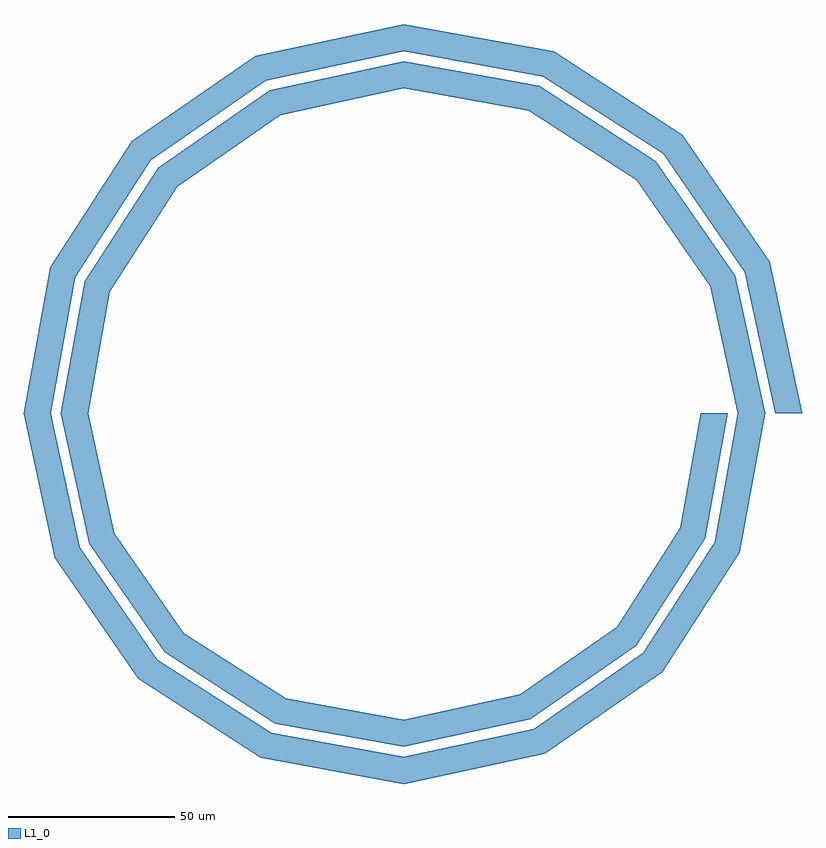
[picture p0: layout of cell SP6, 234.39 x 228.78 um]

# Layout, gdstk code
import gdstk
lib = gdstk.Library(unit=1e-6, precision=1e-09)
def P(c, l, *ps):  # polygons
    for p in ps: c.add(gdstk.Polygon(p, *l))
L1_0 = (1, 0)

sp6 = lib.new_cell('SP6')
P(sp6, L1_0, [(429.03,314.39),(419.87,356.92),(427.41,360.04),(437.19,314.39)],
  [(419.87,356.92),(395.28,392.48),(401.05,398.25),(427.41,360.04)],
  [(395.28,392.48),(359.19,415.77),(362.31,423.31),(401.05,398.25)],
  [(359.19,415.77),(317.19,423.43),(317.19,431.58),(362.31,423.31)],
  [(275.73,414.48),(272.61,422.01),(317.19,431.58),(317.19,423.43)],
  [(241.08,390.5),(235.31,396.27),(272.61,422.01),(275.73,414.48)],
  [(218.39,355.31),(210.86,358.43),(235.31,396.27),(241.08,390.5)],
  [(202.8,314.39),(210.86,358.43),(218.39,355.31),(210.96,314.39)],
  [(212.15,270.88),(202.8,314.39),(210.96,314.39),(219.69,274)],
  [(237.29,234.49),(212.15,270.88),(219.69,274),(243.06,240.26)],
  [(274.22,210.65),(237.29,234.49),(243.06,240.26),(277.34,218.18)],
  [(317.19,202.8),(274.22,210.65),(277.34,218.18),(317.19,210.96)],
  [(317.19,202.8),(317.19,210.96),(356.5,219.48),(359.63,211.94)],
  [(359.63,211.94),(356.5,219.48),(389.34,242.24),(395.1,236.47)],
  [(395.1,236.47),(389.34,242.24),(410.81,275.61),(418.34,272.49)],
  [(418.34,272.49),(410.81,275.61),(417.82,314.39),(425.98,314.39)],
  [(417.82,314.39),(409.51,352.63),(417.05,355.75),(425.98,314.39)],
  [(409.51,352.63),(387.35,384.55),(393.12,390.32),(417.05,355.75)],
  [(387.35,384.55),(354.89,405.41),(358.02,412.95),(393.12,390.32)],
  [(354.89,405.41),(317.19,412.21),(317.19,420.37),(358.02,412.95)],
  [(280.02,404.12),(276.9,411.65),(317.19,420.37),(317.19,412.21)],
  [(249.01,382.57),(243.24,388.34),(276.9,411.65),(280.02,404.12)],
  [(228.76,351.02),(221.22,354.14),(243.24,388.34),(249.01,382.57)],
  [(214.01,314.39),(221.22,354.14),(228.76,351.02),(222.17,314.39)],
  [(222.52,275.17),(214.01,314.39),(222.17,314.39),(230.05,278.29)],
  [(245.23,242.42),(222.52,275.17),(230.05,278.29),(250.99,248.19)],
  [(278.51,221.01),(245.23,242.42),(250.99,248.19),(281.63,228.54)],
  [(317.19,214.01),(278.51,221.01),(281.63,228.54),(317.19,222.17)],
  [(317.19,214.01),(317.19,222.17),(352.21,229.84),(355.33,222.3)],
  [(355.33,222.3),(352.21,229.84),(381.41,250.17),(387.17,244.4)],
  [(387.17,244.4),(381.41,250.17),(400.44,279.9),(407.98,276.78)],
  [(407.98,276.78),(400.44,279.9),(406.6,314.39),(414.76,314.39)])

lib.write_gds('SP6.gds')
